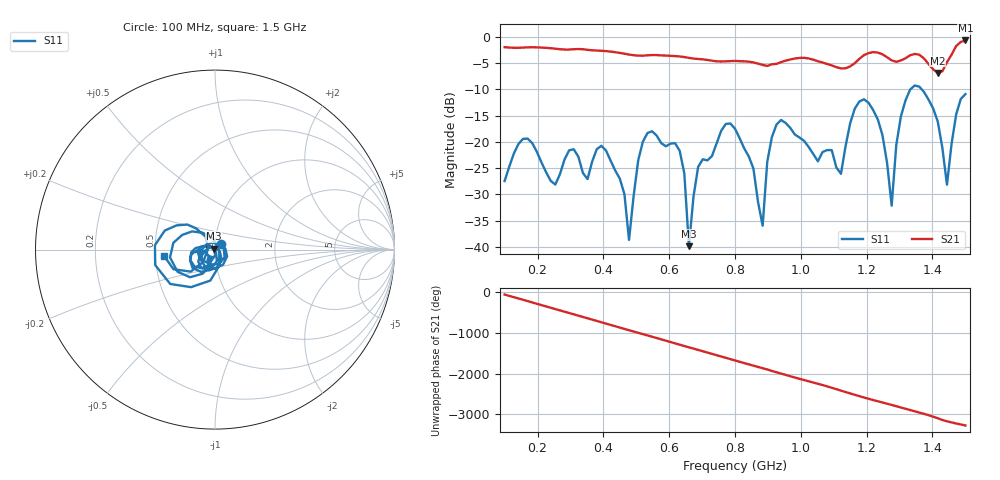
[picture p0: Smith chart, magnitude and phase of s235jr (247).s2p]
! NanoVNA-App
! Date: 2025-09-25 15:06:05
! Start: 100MHz Stop: 1,5GHz Points: 101
! S-Parameter data: F S11 S21 S12 S22
# Hz S RI R 50
!  Frequency  S11_Real  S11_Imag  S21_Real  S21_Imag  S12_Real  S12_Imag  S22_Real  S22_Imag
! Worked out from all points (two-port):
!   101 points, 100 MHz to 1.5 GHz, reference 50 ohm
!   highest |S21| = -0.69 dB at 1.5 GHz (marker M1); lowest = -6.9 dB at 1.416 GHz (marker M2)
!   |S21| within 3 dB of the highest: start of sweep to 622 MHz; 1.188 GHz to 1.257 GHz (69.1 MHz wide, 5.65 % of centre) (the widest 2 of 4)
!   lowest |S11| = -39.9 dB at 660 MHz (marker M3), VSWR 1.02, Z = 49.2 + j0.593 ohm
!   |S11| at or under -10 dB: start of sweep to 1.333 GHz; 1.367 GHz to end of sweep
!   S12 and S22 are empty: the file has one direction only
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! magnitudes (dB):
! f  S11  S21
! 100 MHz  -27.5  -2.0
! 156 MHz  -19.4  -2.0
! 338 MHz  -25.9  -2.4
! 408 MHz  -21.6  -2.7
! 478 MHz  -38.7  -3.4
! 520 MHz  -20.0  -3.6
! 576 MHz  -20.3  -3.5
! 632 MHz  -21.7  -3.7
! 660 MHz  -39.9  -4.0
! 688 MHz  -24.8  -4.2
! 800 MHz  -17.5  -4.6
! 884 MHz  -36.0  -5.4
! 926 MHz  -16.7  -5.1
! 1.038 GHz  -22.3  -4.4
! 1.122 GHz  -26.1  -6.0
! 1.192 GHz  -11.9  -3.5
! 1.248 GHz  -18.7  -3.3
! 1.276 GHz  -32.2  -4.5
! 1.332 GHz  -10.0  -3.5
! 1.416 GHz  -16.1  -6.9
! 1.444 GHz  -28.2  -4.9
! 1.5 GHz  -10.9  -0.7
